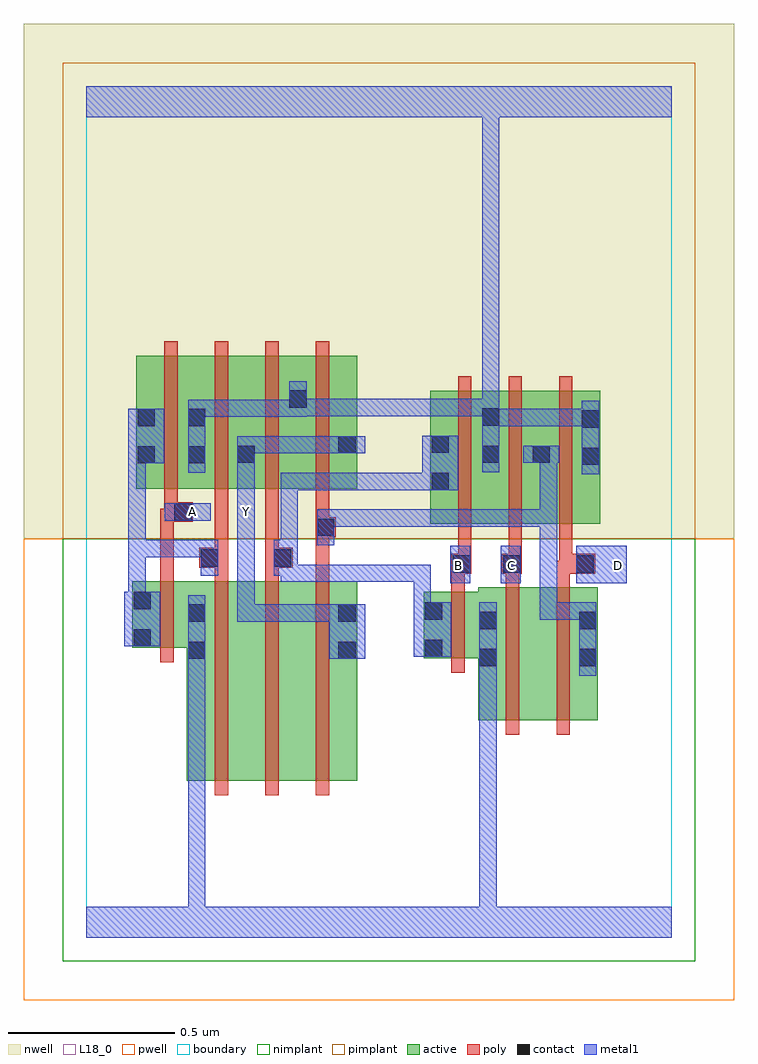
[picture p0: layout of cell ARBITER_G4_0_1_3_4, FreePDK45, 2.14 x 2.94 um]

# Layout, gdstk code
import gdstk
lib = gdstk.Library(unit=1e-6, precision=1e-09)
def R(c, l, rs):  # rectangles x0, y0, x1, y1
    for r in rs: c.add(gdstk.rectangle(r[:2], r[2:], *l))
def A(c, l, x, y, w, h, nx, ny, dx, dy):  # array of equal rectangles
    R(c, l, [(x+i*dx, y+j*dy, x+i*dx+w, y+j*dy+h) for i in range(nx) for j in range(ny)])
active = (1, 0)
pwell = (2, 0)
nwell = (3, 0)
nimplant = (4, 0)
pimplant = (5, 0)
poly = (9, 0)
contact = (10, 0)
metal1 = (11, 0)
L18_0 = (18, 0)
boundary = (235, 0)

arbiter_g4_0_1_3_4 = lib.new_cell('ARBITER_G4_0_1_3_4')
A(arbiter_g4_0_1_3_4, active, 1.034, 1.244, 0.06, 0.4, 3, 1, 0.152, 0)
R(arbiter_g4_0_1_3_4, active, [(0.302,0.472,0.482,1.072), (0.302,0.472,0.362,1.072), (0.482,0.472,0.634,1.072), (0.634,0.472,0.814,1.072), (0.754,0.556,0.814,1.072), (1.178,0.654,1.358,1.054), (1.358,0.654,1.538,1.054), (1.478,0.756,1.538,1.054), (1.178,0.812,1.238,0.984), (1.014,0.84,1.238,1.04), (1.014,0.84,1.074,1.04), (0.138,0.872,0.362,1.072), (0.138,0.872,0.198,1.072), (1.034,1.244,1.246,1.644), (1.186,1.244,1.398,1.644), (1.338,1.244,1.546,1.644), (1.486,1.244,1.546,1.644), (0.15,1.35,0.362,1.75), (0.15,1.35,0.21,1.644), (0.302,1.35,0.51,1.75), (0.302,1.35,0.362,1.644), (0.45,1.35,0.51,1.644), (0.45,1.35,0.666,1.75), (0.606,1.35,0.814,1.75), (0.606,1.35,0.666,1.668), (0.754,1.35,0.814,1.644)])
R(arbiter_g4_0_1_3_4, pwell, [(-0.188,-0.188,1.948,1.2)])
R(arbiter_g4_0_1_3_4, nwell, [(-0.188,1.2,1.948,2.748)])
R(arbiter_g4_0_1_3_4, nimplant, [(-0.072,-0.072,1.832,1.2)])
R(arbiter_g4_0_1_3_4, pimplant, [(-0.072,1.2,1.832,2.632)])
A(arbiter_g4_0_1_3_4, poly, 0.386, 0.428, 0.04, 0.688, 3, 1, 0.152, 0)
A(arbiter_g4_0_1_3_4, poly, 1.118, 1.114, 0.04, 0.126, 3, 1, 0.152, 0)
A(arbiter_g4_0_1_3_4, poly, 1.118, 1.2, 0.04, 0.488, 3, 1, 0.152, 0)
A(arbiter_g4_0_1_3_4, poly, 0.234, 1.306, 0.04, 0.488, 4, 1, 0.152, 0)
R(arbiter_g4_0_1_3_4, poly, [(1.262,0.61,1.302,1.098), (1.414,0.61,1.454,1.098), (1.098,0.796,1.138,1.084), (0.222,0.828,0.262,1.116), (1.098,1.044,1.138,1.134), (1.262,1.058,1.302,1.134), (1.414,1.058,1.454,1.134), (0.222,1.076,0.262,1.29), (0.386,1.076,0.426,1.152), (0.538,1.076,0.578,1.152), (0.69,1.076,0.73,1.244), (1.098,1.094,1.158,1.154), (1.25,1.094,1.31,1.154), (1.414,1.094,1.462,1.134), (1.422,1.094,1.462,1.134), (1.422,1.094,1.53,1.154), (0.34,1.112,0.426,1.172), (0.538,1.112,0.62,1.172), (1.118,1.114,1.158,1.154), (1.118,1.114,1.158,1.154), (1.27,1.114,1.31,1.154), (1.27,1.114,1.31,1.154), (0.386,1.132,0.426,1.172), (0.386,1.132,0.426,1.172), (0.386,1.132,0.426,1.346), (0.538,1.132,0.578,1.172), (0.538,1.132,0.578,1.172), (0.538,1.132,0.578,1.346), (0.69,1.204,0.73,1.244), (0.69,1.204,0.73,1.244), (0.69,1.204,0.75,1.264), (0.69,1.224,0.73,1.346), (0.222,1.25,0.274,1.29), (0.234,1.25,0.274,1.29), (0.234,1.25,0.32,1.31), (0.234,1.27,0.274,1.346)])
R(arbiter_g4_0_1_3_4, contact, [(1.182,0.816,1.234,0.868), (1.482,0.816,1.534,0.868), (0.306,0.838,0.358,0.89), (0.758,0.838,0.81,0.89), (1.018,0.844,1.07,0.896), (0.142,0.876,0.194,0.928), (1.182,0.928,1.234,0.98), (1.482,0.928,1.534,0.98), (0.306,0.95,0.358,1.002), (0.758,0.95,0.81,1.002), (1.018,0.956,1.07,1.008), (0.142,0.988,0.194,1.04), (1.102,1.098,1.154,1.15), (1.254,1.098,1.306,1.15), (1.474,1.098,1.526,1.15), (0.344,1.116,0.396,1.168), (0.564,1.116,0.616,1.168), (0.694,1.208,0.746,1.26), (0.264,1.254,0.316,1.306), (1.038,1.346,1.09,1.398), (1.49,1.422,1.542,1.474), (0.154,1.426,0.206,1.478), (0.306,1.426,0.358,1.478), (0.454,1.428,0.506,1.48), (1.19,1.428,1.242,1.48), (1.342,1.428,1.394,1.48), (0.758,1.456,0.81,1.508), (1.038,1.458,1.09,1.51), (1.49,1.534,1.542,1.586), (0.154,1.538,0.206,1.59), (0.306,1.538,0.358,1.59), (1.19,1.54,1.242,1.592), (0.61,1.594,0.662,1.646)])
R(arbiter_g4_0_1_3_4, metal1, [(0,0,1.76,0.092), (0.306,0.04,0.358,0.862), (1.182,0.04,1.234,0.092), (1.182,0.04,1.234,0.092), (1.182,0.04,1.234,0.84), (1.182,0.788,1.234,0.84), (1.182,0.788,1.234,0.84), (1.182,0.788,1.234,0.84), (1.182,0.788,1.234,0.84), (1.182,0.788,1.234,0.84), (1.182,0.788,1.234,0.84), (1.182,0.788,1.234,0.84), (1.182,0.788,1.234,0.84), (1.182,0.788,1.234,0.84), (1.182,0.788,1.234,0.84), (1.182,0.788,1.234,1.008), (1.482,0.788,1.534,1.008), (0.306,0.81,0.358,0.862), (0.306,0.81,0.358,0.862), (0.306,0.81,0.358,0.862), (0.306,0.81,0.358,0.862), (0.306,0.81,0.358,0.862), (0.306,0.81,0.358,0.862), (0.306,0.81,0.358,0.862), (0.306,0.81,0.358,0.862), (0.306,0.81,0.358,1.03), (0.73,0.838,0.838,1.002), (0.984,0.844,1.098,1.008), (0.114,0.876,0.222,1.04), (0.454,0.95,0.506,1.002), (0.454,0.95,0.506,1.002), (0.454,0.95,0.506,1.002), (0.454,0.95,0.654,1.002), (0.454,0.95,0.506,1.278), (0.602,0.95,0.654,1.002), (0.602,0.95,0.782,1.002), (0.73,0.95,0.782,1.002), (0.73,0.95,0.782,1.002), (0.984,0.956,1.036,1.122), (1.364,0.956,1.416,1.008), (1.364,0.956,1.534,1.008), (1.364,0.956,1.416,1.288), (1.482,0.956,1.534,1.008), (1.482,0.956,1.534,1.008), (0.126,0.988,0.178,1.196), (1.094,1.066,1.154,1.178), (1.246,1.066,1.306,1.178), (1.474,1.066,1.626,1.178), (0.584,1.07,0.764,1.122), (0.584,1.07,0.636,1.14), (0.712,1.07,0.764,1.122), (0.712,1.07,1.036,1.122), (0.984,1.07,1.036,1.122), (0.984,1.07,1.036,1.122), (0.984,1.07,1.036,1.122), (0.344,1.088,0.396,1.196), (0.564,1.088,0.616,1.196), (0.564,1.088,0.636,1.14), (0.584,1.088,0.636,1.398), (0.126,1.144,0.178,1.196), (0.126,1.144,0.178,1.196), (0.126,1.144,0.178,1.196), (0.126,1.144,0.178,1.196), (0.126,1.144,0.178,1.196), (0.126,1.144,0.396,1.196), (0.126,1.144,0.178,1.478), (0.344,1.144,0.396,1.196), (0.344,1.144,0.396,1.196), (0.694,1.18,0.746,1.288), (0.454,1.226,0.506,1.334), (0.694,1.236,0.996,1.288), (0.944,1.236,0.996,1.288), (0.944,1.236,0.996,1.288), (0.944,1.236,0.996,1.288), (0.944,1.236,1.146,1.288), (1.094,1.236,1.146,1.288), (1.094,1.236,1.256,1.288), (1.204,1.236,1.256,1.288), (1.204,1.236,1.256,1.288), (1.204,1.236,1.256,1.288), (1.204,1.236,1.416,1.288), (1.364,1.236,1.416,1.288), (1.364,1.236,1.416,1.288), (1.364,1.236,1.416,1.288), (1.364,1.236,1.416,1.48), (0.236,1.254,0.374,1.306), (0.454,1.282,0.506,1.452), (0.584,1.346,0.636,1.398), (0.584,1.346,0.636,1.398), (0.584,1.346,0.636,1.398), (0.584,1.346,0.844,1.398), (0.792,1.346,0.844,1.398), (0.792,1.346,0.844,1.398), (0.792,1.346,0.844,1.398), (0.792,1.346,1.062,1.398), (1.01,1.346,1.118,1.51), (1.49,1.394,1.542,1.614), (0.306,1.398,0.358,1.618), (0.454,1.4,0.506,1.452), (0.454,1.4,0.506,1.452), (0.454,1.4,0.506,1.508), (1.19,1.4,1.242,1.62), (0.126,1.426,0.234,1.59), (1.314,1.428,1.422,1.48), (0.454,1.456,0.506,1.508), (0.454,1.456,0.506,1.508), (0.454,1.456,0.506,1.508), (0.454,1.456,0.506,1.508), (0.454,1.456,0.672,1.508), (0.62,1.456,0.672,1.508), (0.62,1.456,0.782,1.508), (0.73,1.456,0.782,1.508), (0.73,1.456,0.782,1.508), (0.73,1.456,0.838,1.508), (1.19,1.538,1.416,1.59), (1.364,1.538,1.416,1.59), (1.364,1.538,1.424,1.59), (1.372,1.538,1.424,1.59), (1.372,1.538,1.542,1.59), (1.49,1.538,1.542,1.59), (1.49,1.538,1.542,1.59), (0.306,1.566,0.358,1.618), (0.306,1.566,0.358,1.618), (0.306,1.566,0.526,1.618), (0.474,1.566,0.526,1.618), (0.474,1.566,0.526,1.618), (0.474,1.566,0.526,1.618), (0.474,1.566,0.662,1.618), (0.61,1.566,0.662,1.674), (0.61,1.568,0.75,1.62), (0.698,1.568,0.75,1.62), (0.698,1.568,0.954,1.62), (0.902,1.568,0.954,1.62), (0.902,1.568,0.954,1.62), (0.902,1.568,0.954,1.62), (0.902,1.568,1.146,1.62), (1.094,1.568,1.146,1.62), (1.094,1.568,1.242,1.62), (1.19,1.568,1.242,1.62), (1.19,1.568,1.242,1.62), (1.19,1.568,1.242,1.62), (1.19,1.568,1.242,1.62), (1.19,1.568,1.242,1.62), (1.19,1.568,1.242,1.62), (1.19,1.568,1.242,1.62), (1.19,1.568,1.242,1.62), (1.19,1.568,1.242,1.62), (1.19,1.568,1.242,1.62), (1.19,1.568,1.242,1.62), (1.19,1.568,1.242,1.62), (1.19,1.568,1.242,1.62), (1.19,1.568,1.242,1.62), (1.19,1.568,1.242,1.62), (1.19,1.568,1.242,1.62), (1.19,1.568,1.242,2.52), (0,2.468,1.76,2.56)])
R(arbiter_g4_0_1_3_4, L18_0, [(0,0,1.76,0.092), (0.306,0.04,0.358,0.862), (1.182,0.04,1.234,0.092), (1.182,0.04,1.234,0.092), (1.182,0.04,1.234,0.84), (1.182,0.788,1.234,0.84), (1.182,0.788,1.234,0.84), (1.182,0.788,1.234,0.84), (1.182,0.788,1.234,0.84), (1.182,0.788,1.234,0.84), (1.182,0.788,1.234,0.84), (1.182,0.788,1.234,0.84), (1.182,0.788,1.234,0.84), (1.182,0.788,1.234,0.84), (1.182,0.788,1.234,0.84), (1.182,0.788,1.234,1.008), (0.306,0.81,0.358,0.862), (0.306,0.81,0.358,0.862), (0.306,0.81,0.358,0.862), (0.306,0.81,0.358,0.862), (0.306,0.81,0.358,0.862), (0.306,0.81,0.358,0.862), (0.306,0.81,0.358,0.862), (0.306,0.81,0.358,0.862), (0.306,0.81,0.358,1.03), (0.73,0.838,0.838,1.002), (0.454,0.95,0.506,1.002), (0.454,0.95,0.506,1.002), (0.454,0.95,0.506,1.002), (0.454,0.95,0.506,1.278), (0.454,0.95,0.654,1.002), (0.602,0.95,0.654,1.002), (0.602,0.95,0.782,1.002), (0.73,0.95,0.782,1.002), (0.73,0.95,0.782,1.002), (1.094,1.066,1.154,1.178), (1.246,1.066,1.306,1.178), (1.474,1.066,1.626,1.178), (1.094,1.094,1.146,1.146), (1.254,1.094,1.306,1.146), (1.574,1.094,1.626,1.146), (0.454,1.226,0.506,1.334), (0.236,1.254,0.374,1.306), (0.294,1.254,0.346,1.306), (0.454,1.254,0.506,1.306), (0.454,1.282,0.506,1.452), (1.49,1.394,1.542,1.614), (0.306,1.398,0.358,1.618), (0.454,1.4,0.506,1.452), (0.454,1.4,0.506,1.452), (0.454,1.4,0.506,1.508), (1.19,1.4,1.242,1.62), (0.454,1.456,0.506,1.508), (0.454,1.456,0.506,1.508), (0.454,1.456,0.506,1.508), (0.454,1.456,0.506,1.508), (0.454,1.456,0.672,1.508), (0.62,1.456,0.672,1.508), (0.62,1.456,0.782,1.508), (0.73,1.456,0.782,1.508), (0.73,1.456,0.782,1.508), (0.73,1.456,0.838,1.508), (1.19,1.538,1.416,1.59), (1.364,1.538,1.416,1.59), (1.364,1.538,1.424,1.59), (1.372,1.538,1.424,1.59), (1.372,1.538,1.542,1.59), (1.49,1.538,1.542,1.59), (1.49,1.538,1.542,1.59), (0.306,1.566,0.358,1.618), (0.306,1.566,0.358,1.618), (0.306,1.566,0.526,1.618), (0.474,1.566,0.526,1.618), (0.474,1.566,0.526,1.618), (0.474,1.566,0.526,1.618), (0.474,1.566,0.662,1.618), (0.61,1.566,0.662,1.674), (0.61,1.568,0.75,1.62), (0.698,1.568,0.75,1.62), (0.698,1.568,0.954,1.62), (0.902,1.568,0.954,1.62), (0.902,1.568,0.954,1.62), (0.902,1.568,0.954,1.62), (0.902,1.568,1.146,1.62), (1.094,1.568,1.146,1.62), (1.094,1.568,1.242,1.62), (1.19,1.568,1.242,1.62), (1.19,1.568,1.242,1.62), (1.19,1.568,1.242,1.62), (1.19,1.568,1.242,1.62), (1.19,1.568,1.242,1.62), (1.19,1.568,1.242,1.62), (1.19,1.568,1.242,1.62), (1.19,1.568,1.242,1.62), (1.19,1.568,1.242,1.62), (1.19,1.568,1.242,1.62), (1.19,1.568,1.242,1.62), (1.19,1.568,1.242,1.62), (1.19,1.568,1.242,1.62), (1.19,1.568,1.242,1.62), (1.19,1.568,1.242,1.62), (1.19,1.568,1.242,1.62), (1.19,1.568,1.242,2.52), (0,2.468,1.76,2.56)])
R(arbiter_g4_0_1_3_4, boundary, [(0,0,1.76,2.56)])
arbiter_g4_0_1_3_4.add(gdstk.Label('A', (0.32,1.28), layer=11, texttype=0))
arbiter_g4_0_1_3_4.add(gdstk.Label('B', (1.12,1.12), layer=11, texttype=0))
arbiter_g4_0_1_3_4.add(gdstk.Label('C', (1.28,1.12), layer=11, texttype=0))
arbiter_g4_0_1_3_4.add(gdstk.Label('D', (1.6,1.12), layer=11, texttype=0))
arbiter_g4_0_1_3_4.add(gdstk.Label('Y', (0.48,1.28), layer=11, texttype=0))

lib.write_gds('ARBITER_G4_0_1_3_4.gds')
